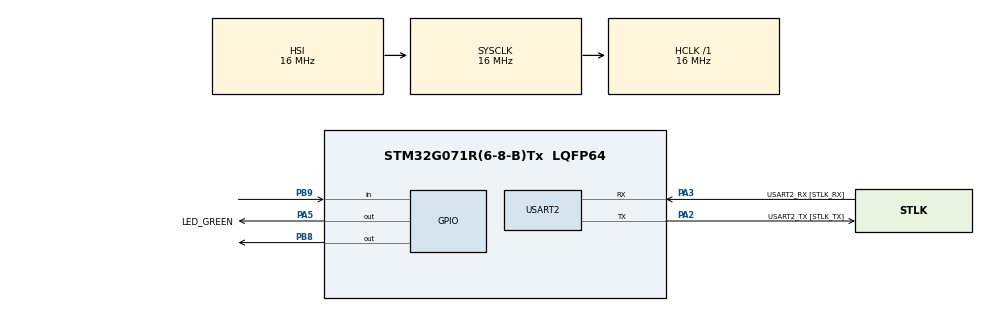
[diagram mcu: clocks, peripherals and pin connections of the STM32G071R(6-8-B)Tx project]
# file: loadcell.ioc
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Mcu.Family=STM32G0
Mcu.Name=STM32G071R(6-8-B)Tx
Mcu.Package=LQFP64
PA13.GPIO_Label=TMS
PA13.Mode=Serial_Wire
PA13.Signal=SYS_SWDIO
PA14-BOOT0.GPIO_Label=TCK
PA14-BOOT0.Mode=Serial_Wire
PA14-BOOT0.Signal=SYS_SWCLK
PA2.GPIO_Label=USART2_TX [STLK_TX]
PA2.GPIO_PuPd=GPIO_PULLUP
PA2.Mode=Asynchronous
PA2.Signal=USART2_TX
PA3.GPIO_Label=USART2_RX [STLK_RX]
PA3.GPIO_PuPd=GPIO_PULLUP
PA3.Mode=Asynchronous
PA3.Signal=USART2_RX
PA5.GPIO_Label=LED_GREEN
PA5.GPIO_Speed=GPIO_SPEED_FREQ_HIGH
PA5.Signal=GPIO_Output
PB8.Signal=GPIO_Output
PB9.Signal=GPIO_Input
PC13.Mode=SYS_WakeUp1
PC13.Signal=SYS_WKUP2
PC14-OSC32_IN\ (PC14).Mode=LSE-External-Oscillator
PC14-OSC32_IN\ (PC14).Signal=RCC_OSC32_IN
PC15-OSC32_OUT\ (PC15).Mode=LSE-External-Oscillator
PC15-OSC32_OUT\ (PC15).Signal=RCC_OSC32_OUT
PF0-OSC_IN\ (PF0).GPIO_Label=MCO
PF0-OSC_IN\ (PF0).Mode=HSE-External-Clock-Source
PF0-OSC_IN\ (PF0).Signal=RCC_OSC_IN
ProjectManager.HeapSize=0x200
ProjectManager.StackSize=0x400
ProjectManager.TargetToolchain=STM32CubeIDE
RCC.AHBFreq_Value=16000000
RCC.CortexFreq_Value=16000000
RCC.EXTERNAL_CLOCK_VALUE=12288000
RCC.HCLKFreq_Value=16000000
RCC.HSE_VALUE=8000000
RCC.HSI_VALUE=16000000
RCC.SYSCLKFreq_VALUE=16000000
RCC.VCOOutputFreq_Value=128000000
USART2.VirtualMode-Asynchronous=VM_ASYNC
board=NUCLEO-G071RB

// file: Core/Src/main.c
/* USER CODE BEGIN Header */
/**
  ******************************************************************************
  * @file           : main.c
  * @brief          : Main program body
  ******************************************************************************
  * @attention
  *
  * Copyright (c) 2026 STMicroelectronics.
  * All rights reserved.
  *
  * This software is licensed under terms that can be found in the LICENSE file
  * in the root directory of this software component.
  * If no LICENSE file comes with this software, it is provided AS-IS.
  *
  ******************************************************************************
  */
/* USER CODE END Header */

#include "main.h"
#include <stdio.h>
#include <math.h>
#include <limits.h>

#define HX711_SCK_Pin GPIO_PIN_8
#define HX711_SCK_GPIO_Port GPIOB
#define HX711_DT_Pin GPIO_PIN_9
#define HX711_DT_GPIO_Port GPIOB

UART_HandleTypeDef huart2;

/* USER CODE BEGIN PV */
long hx711_offset = 0;
float hx711_scale = 1.0f;
float gauge_factor = 2.0f;

// IIR lavpassfilter
float iir_prev = 0.0f;
float cutoff_hz = 2.0f;
float sample_hz = 10.0f;

/* USER CODE END PV */

void SystemClock_Config(void);
static void MX_GPIO_Init(void);
static void MX_USART2_UART_Init(void);

/* USER CODE BEGIN 0 */
int _write(int file, char *ptr, int len)
{
    HAL_UART_Transmit(&huart2, (uint8_t *)ptr, len, HAL_MAX_DELAY);
    return len;
}

uint8_t HX711_WaitReady(void)
{
    uint32_t start = HAL_GetTick();
    while (HAL_GPIO_ReadPin(HX711_DT_GPIO_Port, HX711_DT_Pin) == GPIO_PIN_SET)
    {
        if (HAL_GetTick() - start > 500)
            return 0;
    }
    return 1;
}

int32_t HX711_ReadRaw(void)
{
    int32_t data = 0;
    // Read 24-bit ADC output serially
    if (!HX711_WaitReady())
        return INT32_MIN;

    for (int i = 0; i < 24; i++)
    {
        HAL_GPIO_WritePin(HX711_SCK_GPIO_Port, HX711_SCK_Pin, GPIO_PIN_SET);
        for (volatile int d = 0; d < 5; d++);

        data <<= 1;

        HAL_GPIO_WritePin(HX711_SCK_GPIO_Port, HX711_SCK_Pin, GPIO_PIN_RESET);
        for (volatile int d = 0; d < 5; d++);

        if (HAL_GPIO_ReadPin(HX711_DT_GPIO_Port, HX711_DT_Pin) == GPIO_PIN_SET)
            data++;
    }

    HAL_GPIO_WritePin(HX711_SCK_GPIO_Port, HX711_SCK_Pin, GPIO_PIN_SET);
    for (volatile int d = 0; d < 5; d++);
    HAL_GPIO_WritePin(HX711_SCK_GPIO_Port, HX711_SCK_Pin, GPIO_PIN_RESET);

    if (data & 0x800000)
        data |= 0xFF000000;

    return data;
}

int32_t HX711_ReadAverage(uint8_t times)
{
    int64_t sum = 0;
    uint8_t valid = 0;

    for (uint8_t i = 0; i < times; i++)
    {
        int32_t v = HX711_ReadRaw();
        if (v != INT32_MIN)
        {
            sum += v;
            valid++;
        }
    }

    if (valid == 0)
        return hx711_offset;

    return sum / valid;
}

void HX711_Tare(uint8_t times)
{
    hx711_offset = HX711_ReadAverage(times);
}

void HX711_SetScale(float scale)
{
    hx711_scale = scale;
}

float HX711_GetStrain(uint8_t times)
{
    int32_t raw = HX711_ReadAverage(times);
    int32_t diff = raw - hx711_offset;

    float adc_ratio = (float)diff / 8388608.0f;
    float bridge_ratio = adc_ratio / 128.0f;

    float strain = (4.0f * bridge_ratio) / gauge_factor;

    return strain * 1000000.0f;
}

float IIR_LowPass(float new_sample, float prev_output)
{
    float rc = 1.0f / (2.0f * 3.14159f * cutoff_hz);
    float dt = 1.0f / sample_hz;
    float alpha = dt / (rc + dt);
    return alpha * new_sample + (1.0f - alpha) * prev_output;
}
/* USER CODE END 0 */

int main(void)
{
  HAL_Init();
  SystemClock_Config();
  MX_GPIO_Init();
  MX_USART2_UART_Init();

  HAL_GPIO_WritePin(HX711_SCK_GPIO_Port, HX711_SCK_Pin, GPIO_PIN_RESET);
  HAL_Delay(500);

  for (int i = 0; i < 50; i++)
  {
      float raw = HX711_GetStrain(16);
      iir_prev = IIR_LowPass(raw, iir_prev);
  }

  HX711_Tare(8);
  HX711_SetScale(1.0f);

  iir_prev = HX711_GetStrain(8);

  while (1)
  {
      float raw = HX711_GetStrain(4);
      float filtered = IIR_LowPass(raw, iir_prev);
      iir_prev = filtered;

      printf("%lu,%f,%f\r\n", HAL_GetTick(), raw, filtered);

      HAL_Delay(100);
  }
}

void SystemClock_Config(void)
{
  RCC_OscInitTypeDef RCC_OscInitStruct = {0};
  RCC_ClkInitTypeDef RCC_ClkInitStruct = {0};

  HAL_PWREx_ControlVoltageScaling(PWR_REGULATOR_VOLTAGE_SCALE1);

  RCC_OscInitStruct.OscillatorType = RCC_OSCILLATORTYPE_HSI;
  RCC_OscInitStruct.HSIState = RCC_HSI_ON;
  RCC_OscInitStruct.HSIDiv = RCC_HSI_DIV1;
  RCC_OscInitStruct.HSICalibrationValue = RCC_HSICALIBRATION_DEFAULT;
  RCC_OscInitStruct.PLL.PLLState = RCC_PLL_NONE;
  if (HAL_RCC_OscConfig(&RCC_OscInitStruct) != HAL_OK)
  {
    Error_Handler();
  }

  RCC_ClkInitStruct.ClockType = RCC_CLOCKTYPE_HCLK|RCC_CLOCKTYPE_SYSCLK
                              |RCC_CLOCKTYPE_PCLK1;
  RCC_ClkInitStruct.SYSCLKSource = RCC_SYSCLKSOURCE_HSI;
  RCC_ClkInitStruct.AHBCLKDivider = RCC_SYSCLK_DIV1;
  RCC_ClkInitStruct.APB1CLKDivider = RCC_HCLK_DIV1;

  if (HAL_RCC_ClockConfig(&RCC_ClkInitStruct, FLASH_LATENCY_0) != HAL_OK)
  {
    Error_Handler();
  }
}

static void MX_USART2_UART_Init(void)
{
  huart2.Instance = USART2;
  huart2.Init.BaudRate = 115200;
  huart2.Init.WordLength = UART_WORDLENGTH_8B;
  huart2.Init.StopBits = UART_STOPBITS_1;
  huart2.Init.Parity = UART_PARITY_NONE;
  huart2.Init.Mode = UART_MODE_TX_RX;
  huart2.Init.HwFlowCtl = UART_HWCONTROL_NONE;
  huart2.Init.OverSampling = UART_OVERSAMPLING_16;
  huart2.Init.OneBitSampling = UART_ONE_BIT_SAMPLE_DISABLE;
  huart2.Init.ClockPrescaler = UART_PRESCALER_DIV1;
  huart2.AdvancedInit.AdvFeatureInit = UART_ADVFEATURE_NO_INIT;
  if (HAL_UART_Init(&huart2) != HAL_OK)
  {
    Error_Handler();
  }
  if (HAL_UARTEx_SetTxFifoThreshold(&huart2, UART_TXFIFO_THRESHOLD_1_8) != HAL_OK)
  {
    Error_Handler();
  }
  if (HAL_UARTEx_SetRxFifoThreshold(&huart2, UART_RXFIFO_THRESHOLD_1_8) != HAL_OK)
  {
    Error_Handler();
  }
  if (HAL_UARTEx_DisableFifoMode(&huart2) != HAL_OK)
  {
    Error_Handler();
  }
}

static void MX_GPIO_Init(void)
{
  GPIO_InitTypeDef GPIO_InitStruct = {0};

  __HAL_RCC_GPIOC_CLK_ENABLE();
  __HAL_RCC_GPIOF_CLK_ENABLE();
  __HAL_RCC_GPIOA_CLK_ENABLE();
  __HAL_RCC_GPIOB_CLK_ENABLE();

  HAL_GPIO_WritePin(LED_GREEN_GPIO_Port, LED_GREEN_Pin, GPIO_PIN_RESET);
  HAL_GPIO_WritePin(GPIOB, GPIO_PIN_8, GPIO_PIN_RESET);

  GPIO_InitStruct.Pin = LED_GREEN_Pin;
  GPIO_InitStruct.Mode = GPIO_MODE_OUTPUT_PP;
  GPIO_InitStruct.Pull = GPIO_NOPULL;
  GPIO_InitStruct.Speed = GPIO_SPEED_FREQ_HIGH;
  HAL_GPIO_Init(LED_GREEN_GPIO_Port, &GPIO_InitStruct);

  GPIO_InitStruct.Pin = GPIO_PIN_8;
  GPIO_InitStruct.Mode = GPIO_MODE_OUTPUT_PP;
  GPIO_InitStruct.Pull = GPIO_NOPULL;
  GPIO_InitStruct.Speed = GPIO_SPEED_FREQ_LOW;
  HAL_GPIO_Init(GPIOB, &GPIO_InitStruct);

  GPIO_InitStruct.Pin = GPIO_PIN_9;
  GPIO_InitStruct.Mode = GPIO_MODE_INPUT;
  GPIO_InitStruct.Pull = GPIO_PULLUP;
  HAL_GPIO_Init(GPIOB, &GPIO_InitStruct);
}

void Error_Handler(void)
{
  __disable_irq();
  while (1)
  {
  }
}
